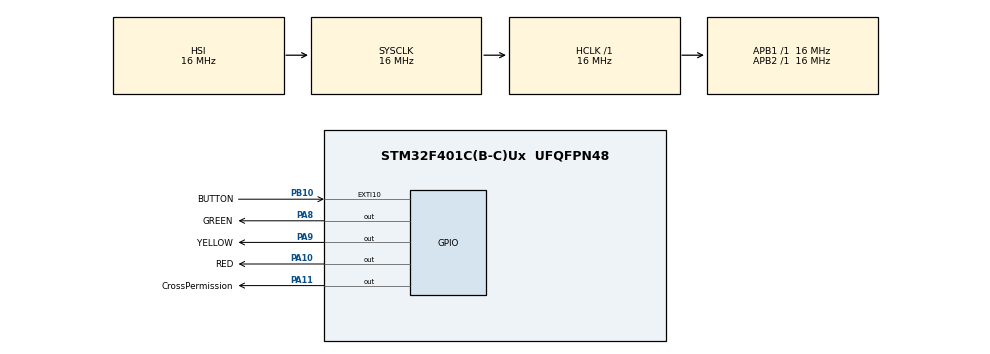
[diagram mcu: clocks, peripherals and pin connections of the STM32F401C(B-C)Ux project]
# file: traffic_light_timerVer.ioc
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Mcu.Family=STM32F4
Mcu.Name=STM32F401C(B-C)Ux
Mcu.Package=UFQFPN48
NVIC.EXTI15_10_IRQn=true\:0\:0\:false\:false\:true\:true\:true\:true
NVIC.PriorityGroup=NVIC_PRIORITYGROUP_4
NVIC.TIM1_BRK_TIM9_IRQn=true\:0\:0\:false\:false\:true\:true\:true\:true
PA10.GPIO_Label=RED
PA10.Signal=GPIO_Output
PA11.GPIO_Label=CrossPermission
PA11.Signal=GPIO_Output
PA8.GPIO_Label=GREEN
PA8.Signal=GPIO_Output
PA9.GPIO_Label=YELLOW
PA9.Signal=GPIO_Output
PB10.GPIO_Label=BUTTON
PB10.Signal=GPXTI10
ProjectManager.HeapSize=0x200
ProjectManager.StackSize=0x400
ProjectManager.TargetToolchain=STM32CubeIDE
RCC.AHBFreq_Value=16000000
RCC.APB1Freq_Value=16000000
RCC.APB2Freq_Value=16000000
RCC.CortexFreq_Value=16000000
RCC.HSE_VALUE=25000000
RCC.HSI_VALUE=16000000
RCC.LSE_VALUE=32768
RCC.SYSCLKFreq_VALUE=16000000
RCC.VCOOutputFreq_Value=192000000
TIM9.AutoReloadPreload=TIM_AUTORELOAD_PRELOAD_ENABLE
TIM9.Period=1199
TIM9.Prescaler=15999
VP_TIM9_VS_ClockSourceINT.Mode=Internal
board=custom

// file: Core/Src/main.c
/* USER CODE BEGIN Header */
/**
  ******************************************************************************
  * @file           : main.c
  * @brief          : Main program body
  ******************************************************************************
  * @attention
  *
  * Copyright (c) 2022 STMicroelectronics.
  * All rights reserved.
  *
  * This software is licensed under terms that can be found in the LICENSE file
  * in the root directory of this software component.
  * If no LICENSE file comes with this software, it is provided AS-IS.
  *
  ******************************************************************************
  */
/* USER CODE END Header */
#include "main.h"

TIM_HandleTypeDef htim9;

/* USER CODE BEGIN PV */
typedef enum{
	RED		= 0x00U,
	YELLOW	= 0x01U,
	GREEN	= 0x02U
} roadState;

roadState state = RED;
uint8_t interaption_flag = 0;

/* USER CODE END PV */

void SystemClock_Config(void);
static void MX_GPIO_Init(void);
static void MX_TIM9_Init(void);
/* USER CODE BEGIN PFP */
void HAL_GPIO_EXTI_Callback(uint16_t GPIO_Pin);
void HAL_TIM_PeriodElapsedCallback(TIM_HandleTypeDef* htim);
/* USER CODE END PFP */

int main(void)
{

  /* MCU Configuration--------------------------------------------------------*/

  /* Reset of all peripherals, Initializes the Flash interface and the Systick. */
  HAL_Init();

  /* Configure the system clock */
  SystemClock_Config();

  /* Initialize all configured peripherals */
  MX_GPIO_Init();
  MX_TIM9_Init();
  /* USER CODE BEGIN 2 */

  //__HAL_TIM_SET_COUNTER(&htim9, 0);
  HAL_GPIO_WritePin(RED_GPIO_Port, RED_Pin, GPIO_PIN_SET);
  HAL_TIM_Base_Start_IT(&htim9);

  /* USER CODE END 2 */

  /* Infinite loop */
  while (1)
  {

  }
}

void SystemClock_Config(void)
{
  RCC_OscInitTypeDef RCC_OscInitStruct = {0};
  RCC_ClkInitTypeDef RCC_ClkInitStruct = {0};

  /** Configure the main internal regulator output voltage
  */
  __HAL_RCC_PWR_CLK_ENABLE();
  __HAL_PWR_VOLTAGESCALING_CONFIG(PWR_REGULATOR_VOLTAGE_SCALE2);

  /** Initializes the RCC Oscillators according to the specified parameters
  * in the RCC_OscInitTypeDef structure.
  */
  RCC_OscInitStruct.OscillatorType = RCC_OSCILLATORTYPE_HSI;
  RCC_OscInitStruct.HSIState = RCC_HSI_ON;
  RCC_OscInitStruct.HSICalibrationValue = RCC_HSICALIBRATION_DEFAULT;
  RCC_OscInitStruct.PLL.PLLState = RCC_PLL_NONE;
  if (HAL_RCC_OscConfig(&RCC_OscInitStruct) != HAL_OK)
  {
    Error_Handler();
  }

  /** Initializes the CPU, AHB and APB buses clocks
  */
  RCC_ClkInitStruct.ClockType = RCC_CLOCKTYPE_HCLK|RCC_CLOCKTYPE_SYSCLK
                              |RCC_CLOCKTYPE_PCLK1|RCC_CLOCKTYPE_PCLK2;
  RCC_ClkInitStruct.SYSCLKSource = RCC_SYSCLKSOURCE_HSI;
  RCC_ClkInitStruct.AHBCLKDivider = RCC_SYSCLK_DIV1;
  RCC_ClkInitStruct.APB1CLKDivider = RCC_HCLK_DIV1;
  RCC_ClkInitStruct.APB2CLKDivider = RCC_HCLK_DIV1;

  if (HAL_RCC_ClockConfig(&RCC_ClkInitStruct, FLASH_LATENCY_0) != HAL_OK)
  {
    Error_Handler();
  }
}

static void MX_TIM9_Init(void)
{

  TIM_ClockConfigTypeDef sClockSourceConfig = {0};

  htim9.Instance = TIM9;
  htim9.Init.Prescaler = 15999;
  htim9.Init.CounterMode = TIM_COUNTERMODE_UP;
  htim9.Init.Period = 1199;
  htim9.Init.ClockDivision = TIM_CLOCKDIVISION_DIV1;
  htim9.Init.AutoReloadPreload = TIM_AUTORELOAD_PRELOAD_ENABLE;
  if (HAL_TIM_Base_Init(&htim9) != HAL_OK)
  {
    Error_Handler();
  }
  sClockSourceConfig.ClockSource = TIM_CLOCKSOURCE_INTERNAL;
  if (HAL_TIM_ConfigClockSource(&htim9, &sClockSourceConfig) != HAL_OK)
  {
    Error_Handler();
  }

}

static void MX_GPIO_Init(void)
{
  GPIO_InitTypeDef GPIO_InitStruct = {0};

  /* GPIO Ports Clock Enable */
  __HAL_RCC_GPIOB_CLK_ENABLE();
  __HAL_RCC_GPIOA_CLK_ENABLE();

  /*Configure GPIO pin Output Level */
  HAL_GPIO_WritePin(GPIOA, GREEN_Pin|YELLOW_Pin|RED_Pin|CrossPermission_Pin, GPIO_PIN_RESET);

  /*Configure GPIO pin : BUTTON_Pin */
  GPIO_InitStruct.Pin = BUTTON_Pin;
  GPIO_InitStruct.Mode = GPIO_MODE_IT_RISING;
  GPIO_InitStruct.Pull = GPIO_NOPULL;
  HAL_GPIO_Init(BUTTON_GPIO_Port, &GPIO_InitStruct);

  /*Configure GPIO pins : GREEN_Pin YELLOW_Pin RED_Pin CrossPermission_Pin */
  GPIO_InitStruct.Pin = GREEN_Pin|YELLOW_Pin|RED_Pin|CrossPermission_Pin;
  GPIO_InitStruct.Mode = GPIO_MODE_OUTPUT_PP;
  GPIO_InitStruct.Pull = GPIO_NOPULL;
  GPIO_InitStruct.Speed = GPIO_SPEED_FREQ_LOW;
  HAL_GPIO_Init(GPIOA, &GPIO_InitStruct);

  /* EXTI interrupt init*/
  HAL_NVIC_SetPriority(EXTI15_10_IRQn, 0, 0);
  HAL_NVIC_EnableIRQ(EXTI15_10_IRQn);

}

/* USER CODE BEGIN 4 */
void HAL_GPIO_EXTI_Callback(uint16_t GPIO_Pin)
{
	if(GPIO_Pin != BUTTON_Pin)
		return;
	HAL_TIM_Base_Stop(&htim9);
	__HAL_TIM_SET_COUNTER(&htim9, 0);
	__HAL_TIM_SET_AUTORELOAD(&htim9, 5999);
	state = GREEN;
	HAL_TIM_Base_Start_IT(&htim9);
}

void HAL_TIM_PeriodElapsedCallback(TIM_HandleTypeDef* htim)
{
	if(htim != &htim9)
		return;

	if(state == RED) {
		state = YELLOW;
		HAL_GPIO_WritePin(YELLOW_GPIO_Port, YELLOW_Pin, GPIO_PIN_SET);
		HAL_GPIO_WritePin(CrossPermission_GPIO_Port, CrossPermission_Pin, GPIO_PIN_RESET);
		__HAL_TIM_SET_AUTORELOAD(&htim9, 5999);												// Next event time - time for GREEN (6s)
	} else if(state == YELLOW) {
		state = GREEN;
		HAL_GPIO_WritePin(RED_GPIO_Port, RED_Pin, GPIO_PIN_RESET);
		HAL_GPIO_WritePin(YELLOW_GPIO_Port, YELLOW_Pin, GPIO_PIN_RESET);
		HAL_GPIO_WritePin(GREEN_GPIO_Port, GREEN_Pin, GPIO_PIN_SET);
		__HAL_TIM_SET_AUTORELOAD(&htim9, 5999);												// Next event time - time for RED (6s)
	} else {
		state = RED;
		HAL_GPIO_WritePin(YELLOW_GPIO_Port, YELLOW_Pin, GPIO_PIN_RESET);
		HAL_GPIO_WritePin(GREEN_GPIO_Port, GREEN_Pin, GPIO_PIN_RESET);
		HAL_GPIO_WritePin(RED_GPIO_Port, RED_Pin, GPIO_PIN_SET);
		HAL_GPIO_WritePin(CrossPermission_GPIO_Port, CrossPermission_Pin, GPIO_PIN_SET);
		__HAL_TIM_SET_AUTORELOAD(&htim9, 1199);												// Next event time - time for YELLOW (1.2s)
	}
	__HAL_TIM_SET_COUNTER(&htim9, 0);
}

/* USER CODE END 4 */

void Error_Handler(void)
{
  __disable_irq();
  while (1)
  {
  }
}
